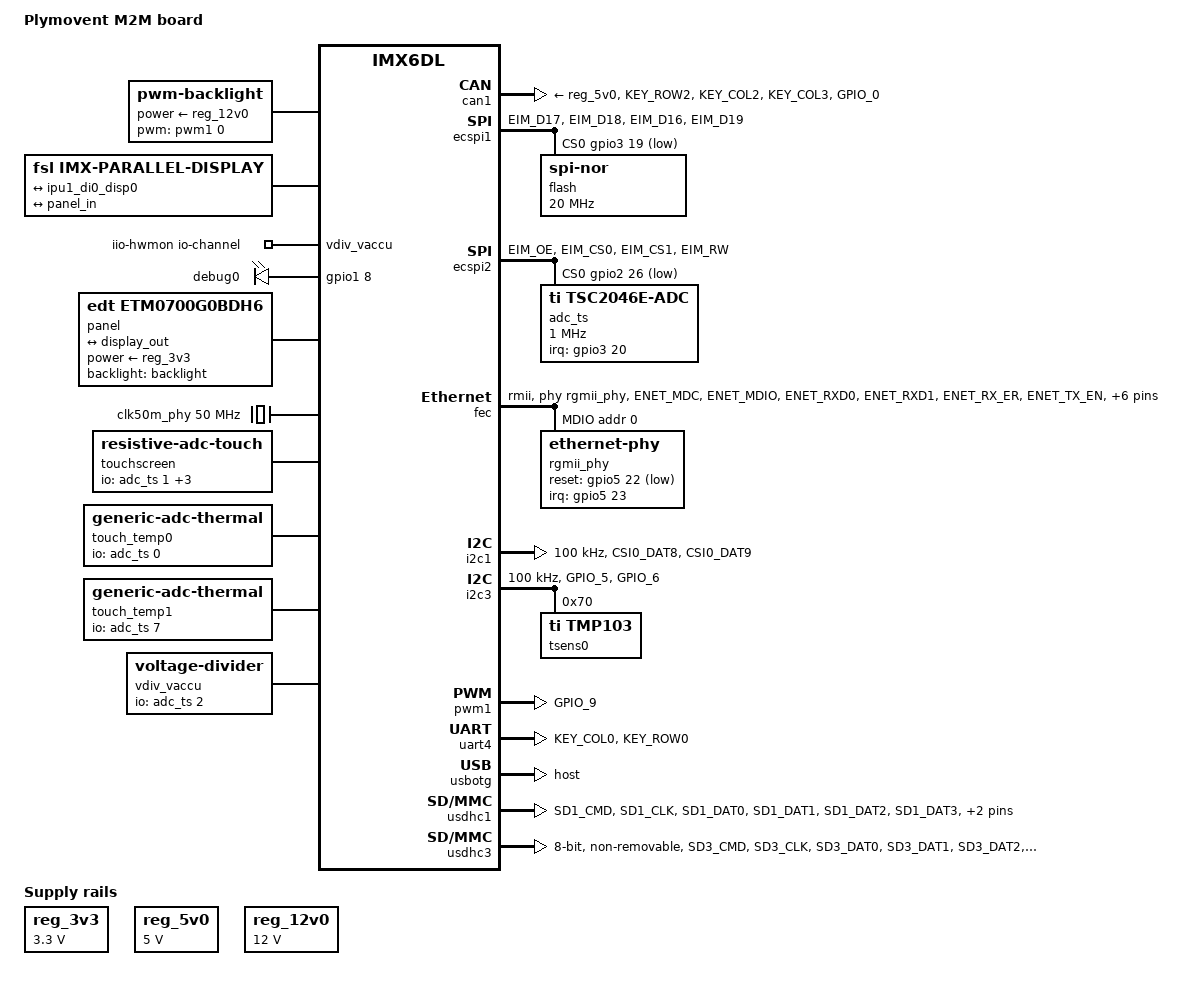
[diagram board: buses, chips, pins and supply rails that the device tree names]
// SPDX-License-Identifier: GPL-2.0-or-later OR MIT
/*
 * Copyright (c) 2014 Protonic Holland
 * Copyright (c) 2020 Oleksij Rempel <kernel@pengutronix.de>, Pengutronix
 */

/dts-v1/;
#include <dt-bindings/gpio/gpio.h>
#include <dt-bindings/leds/common.h>
#include "imx6dl.dtsi"

/ {
	model = "Plymovent M2M board";
	compatible = "ply,plym2m", "fsl,imx6dl";

	chosen {
		stdout-path = &uart4;
	};

	backlight: backlight {
		compatible = "pwm-backlight";
		pwms = <&pwm1 0 5000000 0>;
		brightness-levels = <0 1000>;
		num-interpolated-steps = <20>;
		default-brightness-level = <19>;
		power-supply = <&reg_12v0>;
	};

	display {
		compatible = "fsl,imx-parallel-display";
		pinctrl-0 = <&pinctrl_ipu1_disp>;
		pinctrl-names = "default";
		#address-cells = <1>;
		#size-cells = <0>;

		port@0 {
			reg = <0>;

			display_in: endpoint {
				remote-endpoint = <&ipu1_di0_disp0>;
			};
		};

		port@1 {
			reg = <1>;

			display_out: endpoint {
				remote-endpoint = <&panel_in>;
			};
		};
	};

	iio-hwmon {
		compatible = "iio-hwmon";
		io-channels = <&vdiv_vaccu>;
	};

	leds {
		compatible = "gpio-leds";
		pinctrl-names = "default";
		pinctrl-0 = <&pinctrl_leds>;

		led-0 {
			label = "debug0";
			function = LED_FUNCTION_STATUS;
			gpios = <&gpio1 8 GPIO_ACTIVE_HIGH>;
			linux,default-trigger = "heartbeat";
		};
	};

	panel {
		compatible = "edt,etm0700g0bdh6";
		backlight = <&backlight>;
		power-supply = <&reg_3v3>;

		port {
			panel_in: endpoint {
				remote-endpoint = <&display_out>;
			};
		};
	};

	clk50m_phy: phy-clock {
		compatible = "fixed-clock";
		#clock-cells = <0>;
		clock-frequency = <50000000>;
	};

	reg_3v3: regulator-3v3 {
		compatible = "regulator-fixed";
		regulator-name = "3v3";
		regulator-min-microvolt = <3300000>;
		regulator-max-microvolt = <3300000>;
	};

	reg_5v0: regulator-5v0 {
		compatible = "regulator-fixed";
		regulator-name = "5v0";
		regulator-min-microvolt = <5000000>;
		regulator-max-microvolt = <5000000>;
	};

	reg_12v0: regulator-12v0 {
		compatible = "regulator-fixed";
		regulator-name = "12v0";
		regulator-min-microvolt = <12000000>;
		regulator-max-microvolt = <12000000>;
	};

	thermal-zones {
		chassis-thermal {
			polling-delay = <20000>;
			polling-delay-passive = <0>;
			thermal-sensors = <&tsens0>;
		};

		touch-thermal0 {
			polling-delay = <20000>;
			polling-delay-passive = <0>;
			thermal-sensors = <&touch_temp0>;
		};

		touch-thermal1 {
			polling-delay = <20000>;
			polling-delay-passive = <0>;
			thermal-sensors = <&touch_temp1>;
		};
	};

	touchscreen {
		compatible = "resistive-adc-touch";
		io-channels = <&adc_ts 1>, <&adc_ts 3>, <&adc_ts 4>,
                              <&adc_ts 5>;
		io-channel-names = "y", "z1", "z2", "x";
		touchscreen-min-pressure = <64687>;
		touchscreen-inverted-x;
		touchscreen-inverted-y;
		touchscreen-x-plate-ohms = <300>;
		touchscreen-y-plate-ohms = <800>;
	};

	touch_temp0: touch-temperature-sensor0 {
		compatible = "generic-adc-thermal";
		#thermal-sensor-cells = <0>;
		io-channels = <&adc_ts 0>;
		io-channel-names = "sensor-channel";
		temperature-lookup-table = <    (-40000) 736
						85000 474>;
	};

	touch_temp1: touch-temperature-sensor1 {
		compatible = "generic-adc-thermal";
		#thermal-sensor-cells = <0>;
		io-channels = <&adc_ts 7>;
		io-channel-names = "sensor-channel";
		temperature-lookup-table = <    (-40000) 826
						85000 609>;
	};

	vdiv_vaccu: voltage-divider-vaccu {
		compatible = "voltage-divider";
		io-channels = <&adc_ts 2>;
		output-ohms = <2500>;
		full-ohms = <64000>;
		#io-channel-cells = <0>;
	};
};

&can1 {
	pinctrl-names = "default";
	pinctrl-0 = <&pinctrl_can1>;
	xceiver-supply = <&reg_5v0>;
	status = "okay";
};

&ecspi1 {
	cs-gpios = <&gpio3 19 GPIO_ACTIVE_LOW>;
	pinctrl-names = "default";
	pinctrl-0 = <&pinctrl_ecspi1>;
	status = "okay";

	flash@0 {
		compatible = "jedec,spi-nor";
		reg = <0>;
		spi-max-frequency = <20000000>;
	};
};

&ecspi2 {
	cs-gpios = <&gpio2 26 GPIO_ACTIVE_LOW>;
	pinctrl-names = "default";
	pinctrl-0 = <&pinctrl_ecspi2>;
	status = "okay";

	adc_ts: adc@0 {
		compatible = "ti,tsc2046e-adc";
		reg = <0>;
		pinctrl-0 = <&pinctrl_tsc2046>;
		pinctrl-names = "default";
		spi-max-frequency = <1000000>;
		interrupts-extended = <&gpio3 20 IRQ_TYPE_LEVEL_LOW>;
		#io-channel-cells = <1>;

		#address-cells = <1>;
		#size-cells = <0>;

		channel@0 {
			reg = <0>;
			settling-time-us = <300>;
			oversampling-ratio = <5>;
		};

		channel@1 {
			reg = <1>;
			settling-time-us = <700>;
			oversampling-ratio = <5>;
		};

		channel@2 {
			reg = <2>;
			settling-time-us = <300>;
			oversampling-ratio = <5>;
		};

		channel@3 {
			reg = <3>;
			settling-time-us = <700>;
			oversampling-ratio = <5>;
		};

		channel@4 {
			reg = <4>;
			settling-time-us = <700>;
			oversampling-ratio = <5>;
		};

		channel@5 {
			reg = <5>;
			settling-time-us = <700>;
			oversampling-ratio = <5>;
		};

		/* channel 6 is not connected */

		channel@7 {
			reg = <7>;
			settling-time-us = <300>;
			oversampling-ratio = <5>;
		};
	};
};

&fec {
	pinctrl-names = "default";
	pinctrl-0 = <&pinctrl_enet>;
	phy-mode = "rmii";
	clocks = <&clks IMX6QDL_CLK_ENET>,
		 <&clks IMX6QDL_CLK_ENET>,
		 <&clk50m_phy>;
	clock-names = "ipg", "ahb", "ptp";
	phy-handle = <&rgmii_phy>;
	status = "okay";

	mdio {
		#address-cells = <1>;
		#size-cells = <0>;

		/* Microchip KSZ8081RNA PHY */
		rgmii_phy: ethernet-phy@0 {
			reg = <0>;
			interrupts-extended = <&gpio5 23 IRQ_TYPE_LEVEL_LOW>;
			reset-gpios = <&gpio5 22 GPIO_ACTIVE_LOW>;
			reset-assert-us = <10000>;
			reset-deassert-us = <300>;
		};
	};
};

&gpio1 {
	gpio-line-names =
		"CAN1_TERM", "SD1_CD", "", "", "", "", "", "",
		"DEBUG_0", "", "", "", "", "", "", "",
		"", "", "", "", "", "", "", "",
		"", "", "", "", "", "", "", "";
};

&gpio2 {
	gpio-line-names =
		"", "", "", "", "", "", "", "",
		"", "", "", "", "", "", "", "",
		"", "", "", "", "", "", "", "",
		"", "", "ECSPI2_SS0", "", "", "", "TSC_BUSY", "";
};

&gpio3 {
	gpio-line-names =
		"", "", "", "", "", "", "", "",
		"", "", "", "", "", "", "", "",
		"", "", "", "ECSPI1_SS1", "TSC_PENIRQ", "", "", "",
		"", "", "", "", "", "", "", "";
};

&gpio4 {
	gpio-line-names =
		"", "", "", "", "", "", "", "",
		"", "", "", "", "CAN1_SR", "", "", "",
		"", "", "", "", "", "", "", "",
		"", "", "", "", "", "", "", "";
};

&gpio5 {
	gpio-line-names =
		"", "", "", "", "", "", "", "",
		"", "", "", "", "", "", "", "",
		"", "", "", "", "", "", "ETH_RESET", "ETH_INTRP",
		"", "", "", "", "", "", "", "";
};

&i2c1 {
	clock-frequency = <100000>;
	pinctrl-names = "default";
	pinctrl-0 = <&pinctrl_i2c1>;
	status = "okay";

	/* additional i2c devices are added automatically by the boot loader */
};

&i2c3 {
	clock-frequency = <100000>;
	pinctrl-names = "default";
	pinctrl-0 = <&pinctrl_i2c3>;
	status = "okay";

	tsens0: temperature-sensor@70 {
		compatible = "ti,tmp103";
		reg = <0x70>;
		#thermal-sensor-cells = <0>;
	};
};

&ipu1_di0_disp0 {
	remote-endpoint = <&display_in>;
};

&pwm1 {
	pinctrl-names = "default";
	pinctrl-0 = <&pinctrl_pwm1>;
	status = "okay";
};

&uart4 {
	pinctrl-names = "default";
	pinctrl-0 = <&pinctrl_uart4>;
	status = "okay";
};

&usbphynop1 {
	status = "disabled";
};

&usbphynop2 {
	status = "disabled";
};

&usbotg {
	phy_type = "utmi";
	dr_mode = "host";
	disable-over-current;
	status = "okay";
};

&usdhc1 {
	pinctrl-names = "default";
	pinctrl-0 = <&pinctrl_usdhc1>;
	cd-gpios = <&gpio1 1 GPIO_ACTIVE_LOW>;
	no-1-8-v;
	disable-wp;
	cap-sd-highspeed;
	no-mmc;
	no-sdio;
	status = "okay";
};

&usdhc3 {
	pinctrl-names = "default";
	pinctrl-0 = <&pinctrl_usdhc3>;
	bus-width = <8>;
	no-1-8-v;
	non-removable;
	no-sd;
	no-sdio;
	status = "okay";
};

&iomuxc {
	pinctrl_can1: can1grp {
		fsl,pins = <
			MX6QDL_PAD_KEY_ROW2__FLEXCAN1_RX		0x1b000
			MX6QDL_PAD_KEY_COL2__FLEXCAN1_TX		0x3008
			/* CAN1_SR */
			MX6QDL_PAD_KEY_COL3__GPIO4_IO12			0x13008
			/* CAN1_TERM */
			MX6QDL_PAD_GPIO_0__GPIO1_IO00			0x1b088
		>;
	};

	pinctrl_ecspi1: ecspi1grp {
		fsl,pins = <
			MX6QDL_PAD_EIM_D17__ECSPI1_MISO			0x1b000
			MX6QDL_PAD_EIM_D18__ECSPI1_MOSI			0x3008
			MX6QDL_PAD_EIM_D16__ECSPI1_SCLK			0x3008
			/* CS */
			MX6QDL_PAD_EIM_D19__GPIO3_IO19			0x3008
		>;
	};

	pinctrl_ecspi2: ecspi2grp {
		fsl,pins = <
			MX6QDL_PAD_EIM_OE__ECSPI2_MISO			0x10000
			MX6QDL_PAD_EIM_CS0__ECSPI2_SCLK			0x3008
			MX6QDL_PAD_EIM_CS1__ECSPI2_MOSI			0x3008
			/* CS */
			MX6QDL_PAD_EIM_RW__GPIO2_IO26			0x3008
		>;
	};

	pinctrl_enet: enetgrp {
		fsl,pins = <
			/* MX6QDL_ENET_PINGRP4 */
			MX6QDL_PAD_ENET_MDC__ENET_MDC			0x1b0b0
			MX6QDL_PAD_ENET_MDIO__ENET_MDIO			0x1b0b0
			MX6QDL_PAD_ENET_RXD0__ENET_RX_DATA0		0x1b0b0
			MX6QDL_PAD_ENET_RXD1__ENET_RX_DATA1		0x1b0b0
			MX6QDL_PAD_ENET_RX_ER__ENET_RX_ER		0x1b0b0
			MX6QDL_PAD_ENET_TX_EN__ENET_TX_EN		0x1b0b0
			MX6QDL_PAD_ENET_TXD0__ENET_TX_DATA0		0x1b0b0
			MX6QDL_PAD_ENET_TXD1__ENET_TX_DATA1		0x1b0b0
			MX6QDL_PAD_ENET_CRS_DV__ENET_RX_EN		0x1b0b0

			MX6QDL_PAD_GPIO_16__ENET_REF_CLK		0x1b0b0
			/* Phy reset */
			MX6QDL_PAD_CSI0_DAT4__GPIO5_IO22		0x1b0b0
			/* nINTRP */
			MX6QDL_PAD_CSI0_DAT5__GPIO5_IO23		0x1b0b0
		>;
	};

	pinctrl_i2c1: i2c1grp {
		fsl,pins = <
			MX6QDL_PAD_CSI0_DAT8__I2C1_SDA			0x4001f8b1
			MX6QDL_PAD_CSI0_DAT9__I2C1_SCL			0x4001f8b1
		>;
	};

	pinctrl_i2c3: i2c3grp {
		fsl,pins = <
			MX6QDL_PAD_GPIO_5__I2C3_SCL			0x4001b8b1
			MX6QDL_PAD_GPIO_6__I2C3_SDA			0x4001b8b1
		>;
	};

	pinctrl_ipu1_disp: ipudisp1grp {
		fsl,pins = <
			/* DSE 0x30 => 25 Ohm, 0x20 => 37 Ohm, 0x10 => 75 Ohm */
			MX6QDL_PAD_DI0_DISP_CLK__IPU1_DI0_DISP_CLK	0x30
			MX6QDL_PAD_DI0_PIN15__IPU1_DI0_PIN15		0x30
			MX6QDL_PAD_DI0_PIN2__IPU1_DI0_PIN02		0x30
			MX6QDL_PAD_DI0_PIN3__IPU1_DI0_PIN03		0x30
			MX6QDL_PAD_DISP0_DAT0__IPU1_DISP0_DATA00	0x30
			MX6QDL_PAD_DISP0_DAT1__IPU1_DISP0_DATA01	0x30
			MX6QDL_PAD_DISP0_DAT2__IPU1_DISP0_DATA02	0x30
			MX6QDL_PAD_DISP0_DAT3__IPU1_DISP0_DATA03	0x30
			MX6QDL_PAD_DISP0_DAT4__IPU1_DISP0_DATA04	0x30
			MX6QDL_PAD_DISP0_DAT5__IPU1_DISP0_DATA05	0x30
			MX6QDL_PAD_DISP0_DAT6__IPU1_DISP0_DATA06	0x30
			MX6QDL_PAD_DISP0_DAT7__IPU1_DISP0_DATA07	0x30
			MX6QDL_PAD_DISP0_DAT8__IPU1_DISP0_DATA08	0x30
			MX6QDL_PAD_DISP0_DAT9__IPU1_DISP0_DATA09	0x30
			MX6QDL_PAD_DISP0_DAT10__IPU1_DISP0_DATA10	0x30
			MX6QDL_PAD_DISP0_DAT11__IPU1_DISP0_DATA11	0x30
			MX6QDL_PAD_DISP0_DAT12__IPU1_DISP0_DATA12	0x30
			MX6QDL_PAD_DISP0_DAT13__IPU1_DISP0_DATA13	0x30
			MX6QDL_PAD_DISP0_DAT14__IPU1_DISP0_DATA14	0x30
			MX6QDL_PAD_DISP0_DAT15__IPU1_DISP0_DATA15	0x30
			MX6QDL_PAD_DISP0_DAT16__IPU1_DISP0_DATA16	0x30
			MX6QDL_PAD_DISP0_DAT17__IPU1_DISP0_DATA17	0x30
		>;
	};

	pinctrl_leds: ledsgrp {
		fsl,pins = <
			MX6QDL_PAD_GPIO_8__GPIO1_IO08			0x1b0b0
		>;
	};

	pinctrl_pwm1: pwm1grp {
		fsl,pins = <
			MX6QDL_PAD_GPIO_9__PWM1_OUT			0x8
		>;
	};

	pinctrl_tsc2046: tsc2046grp {
		fsl,pins = <
			/* TSC_PENIRQ */
			MX6QDL_PAD_EIM_D20__GPIO3_IO20			0x1b0b1
			/* TSC_BUSY */
			MX6QDL_PAD_EIM_EB2__GPIO2_IO30			0x1b0b0
		>;
	};

	pinctrl_uart4: uart4grp {
		fsl,pins = <
			MX6QDL_PAD_KEY_COL0__UART4_TX_DATA		0x1b0b1
			MX6QDL_PAD_KEY_ROW0__UART4_RX_DATA		0x1b0b1
		>;
	};

	pinctrl_usdhc1: usdhc1grp {
		fsl,pins = <
			MX6QDL_PAD_SD1_CMD__SD1_CMD			0x170f9
			MX6QDL_PAD_SD1_CLK__SD1_CLK			0x100f9
			MX6QDL_PAD_SD1_DAT0__SD1_DATA0			0x170f9
			MX6QDL_PAD_SD1_DAT1__SD1_DATA1			0x170f9
			MX6QDL_PAD_SD1_DAT2__SD1_DATA2			0x170f9
			MX6QDL_PAD_SD1_DAT3__SD1_DATA3			0x170f9
			MX6QDL_PAD_GPIO_1__GPIO1_IO01			0x1b0b0
		>;
	};

	pinctrl_usdhc3: usdhc3grp {
		fsl,pins = <
			MX6QDL_PAD_SD3_CMD__SD3_CMD			0x17099
			MX6QDL_PAD_SD3_CLK__SD3_CLK			0x10099
			MX6QDL_PAD_SD3_DAT0__SD3_DATA0			0x17099
			MX6QDL_PAD_SD3_DAT1__SD3_DATA1			0x17099
			MX6QDL_PAD_SD3_DAT2__SD3_DATA2			0x17099
			MX6QDL_PAD_SD3_DAT3__SD3_DATA3			0x17099
			MX6QDL_PAD_SD3_DAT4__SD3_DATA4			0x17099
			MX6QDL_PAD_SD3_DAT5__SD3_DATA5			0x17099
			MX6QDL_PAD_SD3_DAT6__SD3_DATA6			0x17099
			MX6QDL_PAD_SD3_DAT7__SD3_DATA7			0x17099
			MX6QDL_PAD_SD3_RST__SD3_RESET			0x1b0b1
		>;
	};
};
